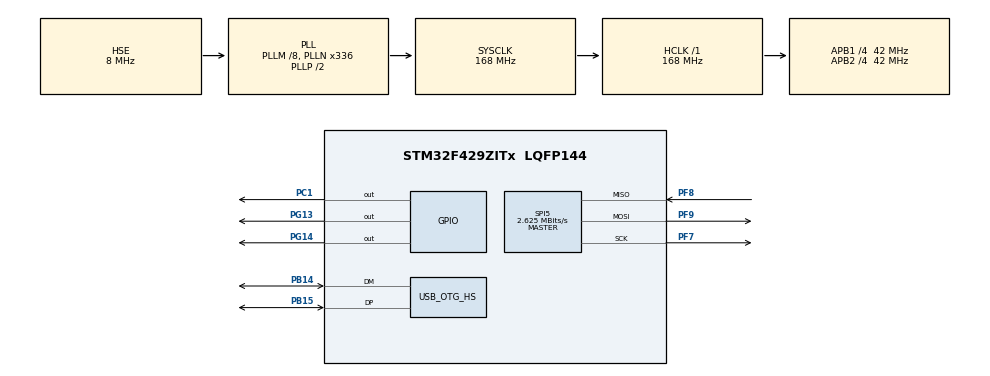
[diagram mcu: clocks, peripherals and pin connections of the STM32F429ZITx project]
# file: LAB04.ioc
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FREERTOS.Tasks01=Task01,0,256,StartTask01,Default,NULL,Dynamic,NULL,NULL;Task02,0,128,StartTask02,Default,NULL,Dynamic,NULL,NULL
Mcu.Family=STM32F4
Mcu.Name=STM32F429ZITx
Mcu.Package=LQFP144
NVIC.OTG_HS_IRQn=true\:5\:0\:false\:false\:true\:true\:true\:true\:true
NVIC.PriorityGroup=NVIC_PRIORITYGROUP_4
NVIC.TIM6_DAC_IRQn=true\:15\:0\:false\:false\:true\:false\:false\:true\:true
NVIC.TimeBase=TIM6_DAC_IRQn
NVIC.TimeBaseIP=TIM6
PA13.Mode=Serial_Wire
PA13.Signal=SYS_JTMS-SWDIO
PA14.Mode=Serial_Wire
PA14.Signal=SYS_JTCK-SWCLK
PB14.Mode=Device_Only_FS
PB14.Signal=USB_OTG_HS_DM
PB15.Mode=Device_Only_FS
PB15.Signal=USB_OTG_HS_DP
PC1.Signal=GPIO_Output
PF7.Mode=Full_Duplex_Master
PF7.Signal=SPI5_SCK
PF8.Mode=Full_Duplex_Master
PF8.Signal=SPI5_MISO
PF9.Mode=Full_Duplex_Master
PF9.Signal=SPI5_MOSI
PG13.GPIO_Speed=GPIO_SPEED_FREQ_HIGH
PG13.Signal=GPIO_Output
PG14.GPIO_Speed=GPIO_SPEED_FREQ_HIGH
PG14.Signal=GPIO_Output
PH0/OSC_IN.Mode=HSE-External-Oscillator
PH0/OSC_IN.Signal=RCC_OSC_IN
PH1/OSC_OUT.Mode=HSE-External-Oscillator
PH1/OSC_OUT.Signal=RCC_OSC_OUT
ProjectManager.HeapSize=0x2000
ProjectManager.StackSize=0x400
ProjectManager.TargetToolchain=STM32CubeIDE
RCC.48MHZClocksFreq_Value=48000000
RCC.AHBFreq_Value=168000000
RCC.APB1CLKDivider=RCC_HCLK_DIV4
RCC.APB1Freq_Value=42000000
RCC.APB1TimFreq_Value=84000000
RCC.APB2CLKDivider=RCC_HCLK_DIV4
RCC.APB2Freq_Value=42000000
RCC.APB2TimFreq_Value=84000000
RCC.CortexFreq_Value=168000000
RCC.HCLKFreq_Value=168000000
RCC.HSE_VALUE=8000000
RCC.HSI_VALUE=16000000
RCC.LSE_VALUE=32768
RCC.PLLM=8
RCC.PLLN=336
RCC.PLLQ=7
RCC.SYSCLKFreq_VALUE=168000000
RCC.SYSCLKSource=RCC_SYSCLKSOURCE_PLLCLK
RCC.VCOOutputFreq_Value=336000000
SPI5.BaudRatePrescaler=SPI_BAUDRATEPRESCALER_16
SPI5.CalculateBaudRate=2.625 MBits/s
SPI5.Direction=SPI_DIRECTION_2LINES
SPI5.Mode=SPI_MODE_MASTER
SPI5.VirtualType=VM_MASTER
USB_DEVICE.CLASS_NAME_HS=CDC
USB_DEVICE.VirtualMode-CDC_HS=Cdc
USB_DEVICE.VirtualModeHS=Cdc_HS
USB_OTG_HS.VirtualMode-Device_Only_FS=Device_Only_FS
VP_FREERTOS_VS_CMSIS_V1.Mode=CMSIS_V1
VP_SYS_VS_tim6.Mode=TIM6
VP_USB_DEVICE_VS_USB_DEVICE_CDC_HS.Mode=CDC_HS
board=custom

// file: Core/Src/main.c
/* USER CODE BEGIN Header */
/**
  ******************************************************************************
  * @file           : main.c
  * @brief          : Main program body
  ******************************************************************************
  * @attention
  *
  * Copyright (c) 2022 STMicroelectronics.
  * All rights reserved.
  *
  * This software is licensed under terms that can be found in the LICENSE file
  * in the root directory of this software component.
  * If no LICENSE file comes with this software, it is provided AS-IS.
  *
  ******************************************************************************
  */
/* USER CODE END Header */
#include "main.h"
#include "cmsis_os.h"
#include "usb_device.h"

/* USER CODE BEGIN Includes */
#include "usbd_cdc_if.h"
#include "stm32f429i_discovery_lcd.h"
#include "l3gd20.h"
#include "stm32f429i_discovery_gyroscope.h"

/* USER CODE END Includes */

SPI_HandleTypeDef hspi5;

osThreadId Task01Handle;
osThreadId Task02Handle;

void SystemClock_Config(void);
static void MX_GPIO_Init(void);
static void MX_SPI5_Init(void);
void StartTask01(void const * argument);
void StartTask02(void const * argument);

/* USER CODE BEGIN 0 */
float pfData[5];
uint8_t buffer[100];
Point top [] = {{120, 10}, {100, 30}, {140, 30}};
Point bot [] = {{120, 310}, {100, 290}, {140, 290}};
Point left [] = {{10, 160}, {30, 140}, {30, 180}};
Point right [] = {{230, 160}, {210, 140}, {210, 180}};
/* USER CODE END 0 */

int main(void)
{

  /* MCU Configuration--------------------------------------------------------*/

  /* Reset of all peripherals, Initializes the Flash interface and the Systick. */
  HAL_Init();

  /* Configure the system clock */
  SystemClock_Config();

  /* Initialize all configured peripherals */
  MX_GPIO_Init();
  MX_SPI5_Init();
  /* USER CODE BEGIN 2 */
  BSP_LCD_Init();//init LCD
  BSP_GYRO_Init();
  //set the layer buffer address into SDRAM
  BSP_LCD_LayerDefaultInit(1, SDRAM_DEVICE_ADDR);
  BSP_LCD_SelectLayer(1);//select on which layer we write
  BSP_LCD_DisplayOn();//turn on LCD
  BSP_LCD_Clear(LCD_COLOR_BLUE);//clear the LCD on blue color
  BSP_LCD_SetBackColor(LCD_COLOR_BLUE);//set text background color
  BSP_LCD_SetTextColor(LCD_COLOR_WHITE);//set text color
  //write text

  /* USER CODE END 2 */

  /* Create the thread(s) */
  /* definition and creation of Task01 */
  osThreadDef(Task01, StartTask01, osPriorityNormal, 0, 256);
  Task01Handle = osThreadCreate(osThread(Task01), NULL);

  /* definition and creation of Task02 */
  osThreadDef(Task02, StartTask02, osPriorityNormal, 0, 128);
  Task02Handle = osThreadCreate(osThread(Task02), NULL);

  /* Start scheduler */
  osKernelStart();

  /* We should never get here as control is now taken by the scheduler */
  /* Infinite loop */
  while (1)
  {

  }
}

void SystemClock_Config(void)
{
  RCC_OscInitTypeDef RCC_OscInitStruct = {0};
  RCC_ClkInitTypeDef RCC_ClkInitStruct = {0};

  /** Configure the main internal regulator output voltage
  */
  __HAL_RCC_PWR_CLK_ENABLE();
  __HAL_PWR_VOLTAGESCALING_CONFIG(PWR_REGULATOR_VOLTAGE_SCALE1);

  /** Initializes the RCC Oscillators according to the specified parameters
  * in the RCC_OscInitTypeDef structure.
  */
  RCC_OscInitStruct.OscillatorType = RCC_OSCILLATORTYPE_HSE;
  RCC_OscInitStruct.HSEState = RCC_HSE_ON;
  RCC_OscInitStruct.PLL.PLLState = RCC_PLL_ON;
  RCC_OscInitStruct.PLL.PLLSource = RCC_PLLSOURCE_HSE;
  RCC_OscInitStruct.PLL.PLLM = 8;
  RCC_OscInitStruct.PLL.PLLN = 336;
  RCC_OscInitStruct.PLL.PLLP = RCC_PLLP_DIV2;
  RCC_OscInitStruct.PLL.PLLQ = 7;
  if (HAL_RCC_OscConfig(&RCC_OscInitStruct) != HAL_OK)
  {
    Error_Handler();
  }

  /** Initializes the CPU, AHB and APB buses clocks
  */
  RCC_ClkInitStruct.ClockType = RCC_CLOCKTYPE_HCLK|RCC_CLOCKTYPE_SYSCLK
                              |RCC_CLOCKTYPE_PCLK1|RCC_CLOCKTYPE_PCLK2;
  RCC_ClkInitStruct.SYSCLKSource = RCC_SYSCLKSOURCE_PLLCLK;
  RCC_ClkInitStruct.AHBCLKDivider = RCC_SYSCLK_DIV1;
  RCC_ClkInitStruct.APB1CLKDivider = RCC_HCLK_DIV4;
  RCC_ClkInitStruct.APB2CLKDivider = RCC_HCLK_DIV4;

  if (HAL_RCC_ClockConfig(&RCC_ClkInitStruct, FLASH_LATENCY_5) != HAL_OK)
  {
    Error_Handler();
  }
}

static void MX_SPI5_Init(void)
{

  /* SPI5 parameter configuration*/
  hspi5.Instance = SPI5;
  hspi5.Init.Mode = SPI_MODE_MASTER;
  hspi5.Init.Direction = SPI_DIRECTION_2LINES;
  hspi5.Init.DataSize = SPI_DATASIZE_8BIT;
  hspi5.Init.CLKPolarity = SPI_POLARITY_LOW;
  hspi5.Init.CLKPhase = SPI_PHASE_1EDGE;
  hspi5.Init.NSS = SPI_NSS_SOFT;
  hspi5.Init.BaudRatePrescaler = SPI_BAUDRATEPRESCALER_16;
  hspi5.Init.FirstBit = SPI_FIRSTBIT_MSB;
  hspi5.Init.TIMode = SPI_TIMODE_DISABLE;
  hspi5.Init.CRCCalculation = SPI_CRCCALCULATION_DISABLE;
  hspi5.Init.CRCPolynomial = 10;
  if (HAL_SPI_Init(&hspi5) != HAL_OK)
  {
    Error_Handler();
  }

}

static void MX_GPIO_Init(void)
{
  GPIO_InitTypeDef GPIO_InitStruct = {0};

  /* GPIO Ports Clock Enable */
  __HAL_RCC_GPIOF_CLK_ENABLE();
  __HAL_RCC_GPIOH_CLK_ENABLE();
  __HAL_RCC_GPIOC_CLK_ENABLE();
  __HAL_RCC_GPIOB_CLK_ENABLE();
  __HAL_RCC_GPIOA_CLK_ENABLE();
  __HAL_RCC_GPIOG_CLK_ENABLE();

  /*Configure GPIO pin Output Level */
  HAL_GPIO_WritePin(GPIOC, GPIO_PIN_1, GPIO_PIN_RESET);

  /*Configure GPIO pin Output Level */
  HAL_GPIO_WritePin(GPIOG, GPIO_PIN_13|GPIO_PIN_14, GPIO_PIN_RESET);

  /*Configure GPIO pin : PC1 */
  GPIO_InitStruct.Pin = GPIO_PIN_1;
  GPIO_InitStruct.Mode = GPIO_MODE_OUTPUT_PP;
  GPIO_InitStruct.Pull = GPIO_NOPULL;
  GPIO_InitStruct.Speed = GPIO_SPEED_FREQ_LOW;
  HAL_GPIO_Init(GPIOC, &GPIO_InitStruct);

  /*Configure GPIO pins : PG13 PG14 */
  GPIO_InitStruct.Pin = GPIO_PIN_13|GPIO_PIN_14;
  GPIO_InitStruct.Mode = GPIO_MODE_OUTPUT_PP;
  GPIO_InitStruct.Pull = GPIO_NOPULL;
  GPIO_InitStruct.Speed = GPIO_SPEED_FREQ_HIGH;
  HAL_GPIO_Init(GPIOG, &GPIO_InitStruct);

}

void StartTask01(void const * argument)
{
  /* init code for USB_DEVICE */
  MX_USB_DEVICE_Init();
  /* USER CODE BEGIN 5 */
  /* Infinite loop */
  for(;;)
  {
	  L3GD20_ReadXYZAngRate(pfData);
	  sprintf(buffer, "X = %4f, Y = %4f, Z = %4f\n",pfData[0], pfData[1], pfData[2]);
	  CDC_Transmit_HS((uint8_t*)buffer,strlen(buffer));
	  osDelay(1000);
  }
  /* USER CODE END 5 */
}

void StartTask02(void const * argument)
{
  /* USER CODE BEGIN StartTask02 */
  /* Infinite loop */
  for(;;)
  {
	  	  if (pfData[0]<0&&pfData[1]<0)
	  	  {
	  		  BSP_LCD_FillPolygon(top, 3);
	  	  	  BSP_LCD_FillPolygon(left, 3);
	  	  	  HAL_Delay(1000);
	  	  	BSP_LCD_Clear(LCD_COLOR_BLUE);
	  	  }
	  	  if (pfData[0]<0&&pfData[1]>0)
	  	  {
	  	  	  BSP_LCD_FillPolygon(top, 3);
	  	  	  BSP_LCD_FillPolygon(right, 3);
	  	  	  HAL_Delay(1000);
	  	  	BSP_LCD_Clear(LCD_COLOR_BLUE);
	  	  }
	  	  if (pfData[0]>0&&pfData[1]<0)
	  	  {
	  	  	  BSP_LCD_FillPolygon(bot, 3);
	  	  	  BSP_LCD_FillPolygon(left, 3);
	  	  	  HAL_Delay(1000);
	  	  	BSP_LCD_Clear(LCD_COLOR_BLUE);
	  	  }
	  	  if (pfData[0]>0&&pfData[1]>0)
	  	  {
	  	  	  BSP_LCD_FillPolygon(bot, 3);
	  	  	  BSP_LCD_FillPolygon(right, 3);
	  	  	  HAL_Delay(1000);
	  	  	BSP_LCD_Clear(LCD_COLOR_BLUE);
	  	  }

  }
  /* USER CODE END StartTask02 */
}

void HAL_TIM_PeriodElapsedCallback(TIM_HandleTypeDef *htim)
{
  if (htim->Instance == TIM6) {
    HAL_IncTick();
  }
}

void Error_Handler(void)
{
  __disable_irq();
  while (1)
  {
  }
}
